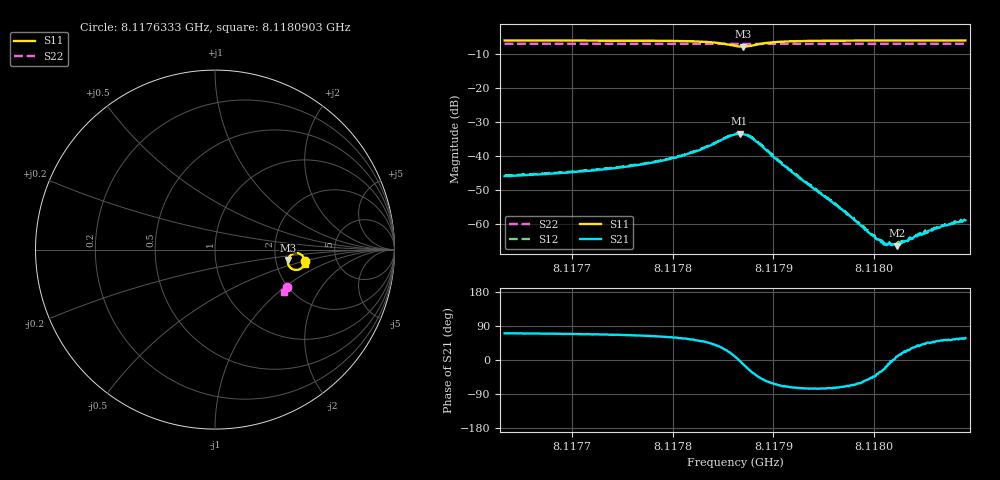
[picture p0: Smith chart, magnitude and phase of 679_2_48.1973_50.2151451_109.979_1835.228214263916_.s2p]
#  HZ  S  RI  R  50.00
! Rohde & Schwarz Vector Network Analyzer
! Rohde-Schwarz,ZNB20-2Port,1311601062101988,3.16
! Created: UTC 3/20/2024, 12:06:33 PM
! freq[Hz]  re:S11  im:S11  re:S21  im:S21  re:S12  im:S12  re:S22  im:S22
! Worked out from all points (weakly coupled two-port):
!   401 points, 8.1176333 GHz to 8.1180903 GHz, reference 50 ohm
!   highest |S21| = -33.35 dB at 8.1178664 GHz (marker M1); lowest = -66.3 dB at 8.1180229 GHz (marker M2)
!   lowest |S11| = -7.7 dB at 8.1178698 GHz (marker M3), VSWR 2.39, Z = 117 - j16.2 ohm
!   |S11| at or under -10 dB: nowhere
!   |S22| runs from -7.0 to -6.9 dB; largest |S21 - S12| = 0.0008
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8.11763331e9  0.5023 -0.0662  0.00171 0.00483  0.00181 0.00495  0.4012 -0.2099
8.11770986e9  0.4999 -0.0761  0.00225 0.00558  0.00228 0.00574  0.3988 -0.215
8.11774757e9  0.4976 -0.0823  0.00274 0.00629  0.00286 0.00641  0.3976 -0.2176
8.11778642e9  0.4927 -0.0916  0.00393 0.00744  0.00406 0.0076  0.3961 -0.22
8.11782412e9  0.478 -0.1061  0.00743 0.00939  0.00762 0.00964  0.3941 -0.2229
8.11784812e9  0.4451 -0.1129  0.0145 0.00952  0.0147 0.00964  0.3918 -0.2241
8.11786183e9  0.4119 -0.0901  0.0208 0.00322  0.0211 0.00343  0.3902 -0.2236
8.1178664e9  0.4057 -0.0725  0.0215 -0.000812  0.022 -0.000555  0.39 -0.223
8.11786982e9  0.4062 -0.0577  0.0208 -0.00404  0.0214 -0.00376  0.3901 -0.2226
8.11787554e9  0.4165 -0.0358  0.0178 -0.00833  0.0184 -0.00847  0.3905 -0.222
8.11788125e9  0.4337 -0.023  0.0138 -0.0104  0.0143 -0.0107  0.3913 -0.2219
8.11791096e9  0.4876 -0.0344  0.00266 -0.00674  0.0026 -0.00694  0.3925 -0.2248
8.11793838e9  0.4974 -0.0507  0.000871 -0.0034  0.000855 -0.00347  0.3921 -0.2275
8.11796923e9  0.5 -0.0615  0.000524 -0.00149  0.000527 -0.00153  0.3911 -0.2296
8.11800008e9  0.5006 -0.0685  0.00048 -0.000455  0.000533 -0.000436  0.3901 -0.232
8.11800922e9  0.5008 -0.0702  0.00046 -0.000217  0.000479 -0.00021  0.3899 -0.2325
8.11801493e9  0.5007 -0.0711  0.000533 -9.71e-05  0.000525 -0.000116  0.3897 -0.2328
8.1180195e9  0.5006 -0.0719  0.000504 4.73e-06  0.000475 3.94e-05  0.3895 -0.233
8.11802293e9  0.5008 -0.0725  0.000479 7.98e-05  0.000531 6.45e-05  0.3893 -0.2333
8.11804807e9  0.5005 -0.0762  0.000554 0.000485  0.000551 0.000484  0.3885 -0.235
8.11806863e9  0.5003 -0.0789  0.000576 0.000752  0.000569 0.000749  0.3877 -0.2363
8.11809034e9  0.5 -0.0817  0.000611 0.000966  0.000704 0.000971  0.387 -0.2377
